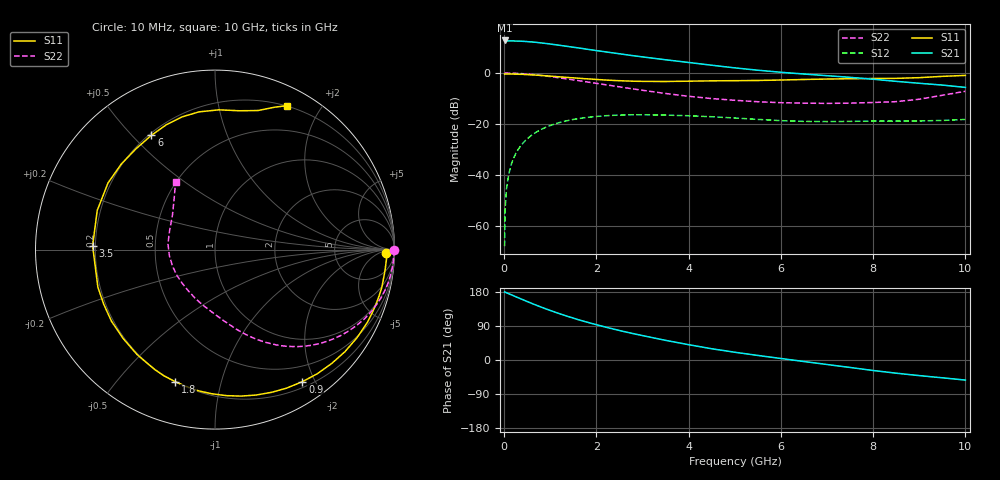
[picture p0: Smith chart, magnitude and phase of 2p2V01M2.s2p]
! (c) 2009  Infineon Technologies AG, Munich
! Infineon Technologies  Discrete & RF Semiconductors
! BFP420
! VCE =  2.0 V,  IC =  1.2 mA
! Common Emitter S-Parameters:  Nov 2009
# GHz  S  MA  R  50
!  f  S11  S21  S12  S22
! GHz  MAG  ANG  MAG  ANG  MAG  ANG  MAG  ANG
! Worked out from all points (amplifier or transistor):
!   46 points, 10 MHz to 10 GHz, reference 50 ohm
!   highest |S21| = 12.8 dB at 10 MHz (marker M1)
!   |S21| within 3 dB of that: start of sweep to 1.634 GHz
!   unconditionally stable (mu >= 1): 4.285 GHz to end of sweep
!   at 300 MHz: K = 0.03, MSG = 21.3 dB, |S12| = -30.1 dB
!   at 1.7 GHz: K = 0.29, MSG = 13.6 dB, |S12| = -17.6 dB
!   at 10 GHz: K = 1.32, MAG = 2.9 dB, |S12| = -18.2 dB
!   lowest NFmin = 0.53 dB at 900 MHz
!   S11 on the Smith chart (normalised r, x): 10 MHz: 37, -15; 900 MHz: 0.28, -1.83; 1.8 GHz: 0.20, -0.72; 3.5 GHz: 0.19, +0.02; 6 GHz: 0.21, +0.57; 10 GHz: 0.19, +1.61
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0.01  0.9547 -1.1  4.355 179.4  0.0004 140.7  0.9972 -0.1
0.02  0.9563 -1.2  4.21 179.3  0.002 84.0  0.9967 -0.7
0.05  0.9569 -3.1  4.239 177.4  0.0053 87.5  0.9968 -1.8
0.1  0.9546 -6.4  4.267 174.9  0.0104 86.2  0.9957 -3.7
0.15  0.9529 -9.5  4.268 172.3  0.0157 84.5  0.9935 -5.5
0.35  0.9435 -22.3  4.221 162.0  0.0363 76.8  0.9761 -12.8
0.6  0.9208 -38.1  4.069 149.3  0.0606 67.1  0.937 -21.6
0.9  0.8824 -56.5  3.804 135.1  0.0859 56.2  0.8737 -31.1
1.1  0.8555 -68.4  3.603 126.4  0.1002 49.5  0.8272 -36.9
1.3  0.8289 -80.0  3.402 118.2  0.1125 43.2  0.78 -42.3
1.7  0.7794 -101.7  3.023 103.2  0.1311 31.7  0.6891 -51.6
1.8  0.7685 -106.7  2.924 99.8  0.1344 29.1  0.6681 -53.7
2.2  0.7286 -126.5  2.601 86.8  0.1451 19.4  0.5887 -61.4
2.6  0.7014 -145.3  2.317 75.0  0.1505 10.7  0.5181 -68.5
3  0.6854 -162.2  2.071 64.4  0.1517 3.2  0.4587 -75.0
3.5  0.6822 178.2  1.82 51.9  0.1494 -4.8  0.3965 -83.5
4.5  0.7023 148.1  1.422 29.7  0.1386 -16.6  0.3154 -102.8
5.5  0.7138 128.0  1.135 12.0  0.123 -23.0  0.2731 -123.3
6  0.7287 119.1  1.035 4.0  0.1162 -23.9  0.2616 -134.7
7  0.7618 104.0  0.886 -11.9  0.1114 -23.2  0.2536 -158.8
8.5  0.7854 80.0  0.686 -34.8  0.1139 -24.7  0.2744 157.1
10  0.8979 63.3  0.522 -53.0  0.1227 -24.3  0.4376 120.1
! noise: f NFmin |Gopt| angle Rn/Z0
0.9  0.53  0.62  33  0.31
1.8  1.1  0.4  77  0.24
2.4  1.23  0.41  100  0.2
3  1.51  0.41  132  0.14
4  1.8  0.44  -175  0.09
5  2.23  0.45  -132  0.38
6  3.18  0.57  -116  0.44
